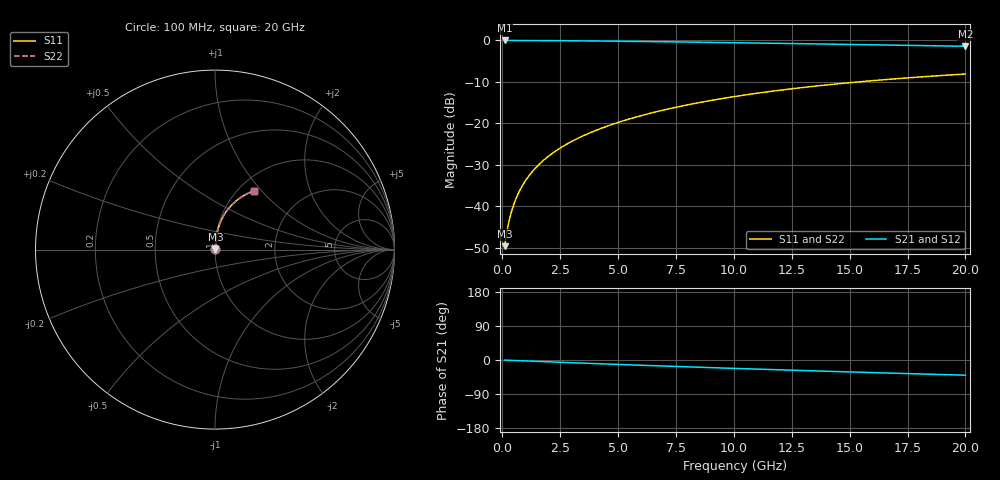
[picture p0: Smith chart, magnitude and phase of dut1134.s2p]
! Touchstone file exported from HFSS 2024.1.0
!  File:  C:/UserFiles/LocalFiles/RDL_TSV_Batchsim/temp_RDL_bottom_1134_1780055355.aedt
!  Generated:  07:51:55 PM May 29, 2026
!  Design:  RDL_bottom
!  Project:  temp_RDL_bottom_1134_1780055355
!  Setup:  Setup1
!  Solution:  Sweep
! Variables:
!  dtsv = 10.80580581um
!  hbump = 3um
!  htsv = 73.16um
!  ldown = 535.96um
!  lrdl = 100um
!  p = 40
!  p1 = 55.59um
!  rhole = 1um
!  t = 450um
!  tdown = 3.87um
!  trdl = 3.915915916um
!  wdown = 20.87um
!  wrdl = 20um
# GHz S MA R 50.000000
! Terminal data exported
! Port[1] = RDL1_T1
! Port[2] = RDL1_T2
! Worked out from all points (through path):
!   200 points, 100 MHz to 20 GHz, reference 50 ohm
!   highest |S21| = -0.02 dB at 100 MHz (marker M1); lowest = -1.4 dB at 20 GHz (marker M2)
!   group delay of S21, straight-line fit = 5.53 ps
!   lowest |S11| = -49.6 dB at 100 MHz (marker M3), VSWR 1.01, Z = 50.3 + j0.216 ohm
!   |S11| at or under -10 dB: start of sweep to 15.39 GHz
!   |S22| runs from -49.6 to -8.1 dB; largest |S21 - S12| = 2.7e-15
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0.1  0.003318 40.4  0.9975 -0.3  0.9975 -0.3  0.003318 40.4
! Gamma 0 0 0 0
! Port Impedance 50 0 50 0
0.2  0.004997 58.1  0.9973 -0.5  0.9973 -0.5  0.004997 58.1
0.3  0.006851 66.2  0.9972 -0.7  0.9972 -0.7  0.006851 66.2
0.4  0.008742 70.8  0.997 -1.0  0.997 -1.0  0.008742 70.8
0.5  0.01065 73.8  0.9969 -1.2  0.9969 -1.2  0.01065 73.8
0.6  0.01257 75.9  0.9967 -1.5  0.9967 -1.5  0.01257 75.9
0.8  0.01645 78.8  0.9964 -1.9  0.9964 -1.9  0.01645 78.8
1.1  0.02233 81.2  0.9958 -2.7  0.9958 -2.7  0.02233 81.2
1.5  0.03027 82.8  0.9949 -3.6  0.9949 -3.6  0.03027 82.8
1.8  0.03627 83.4  0.994 -4.3  0.994 -4.3  0.03627 83.4
2.1  0.04232 83.8  0.993 -5.1  0.993 -5.1  0.04232 83.8
2.7  0.05452 84.1  0.9905 -6.5  0.9905 -6.5  0.05452 84.1
3.5  0.07102 83.8  0.9865 -8.3  0.9865 -8.3  0.07102 83.8
4.2  0.08566 83.3  0.9824 -9.9  0.9824 -9.9  0.08566 83.3
5  0.1026 82.5  0.9772 -11.7  0.9772 -11.7  0.1026 82.5
5.9  0.1219 81.3  0.9707 -13.7  0.9707 -13.7  0.1219 81.3
6.8  0.1413 80.0  0.9639 -15.6  0.9639 -15.6  0.1413 80.0
8.4  0.1758 77.4  0.951 -18.9  0.951 -18.9  0.1758 77.4
10.1  0.2119 74.3  0.9367 -22.3  0.9367 -22.3  0.2119 74.3
13.4  0.2788 68.2  0.9078 -28.6  0.9078 -28.6  0.2788 68.2
16.7  0.3396 62.1  0.8783 -34.5  0.8783 -34.5  0.3396 62.1
20  0.3934 56.4  0.8486 -40.1  0.8486 -40.1  0.3933 56.4
